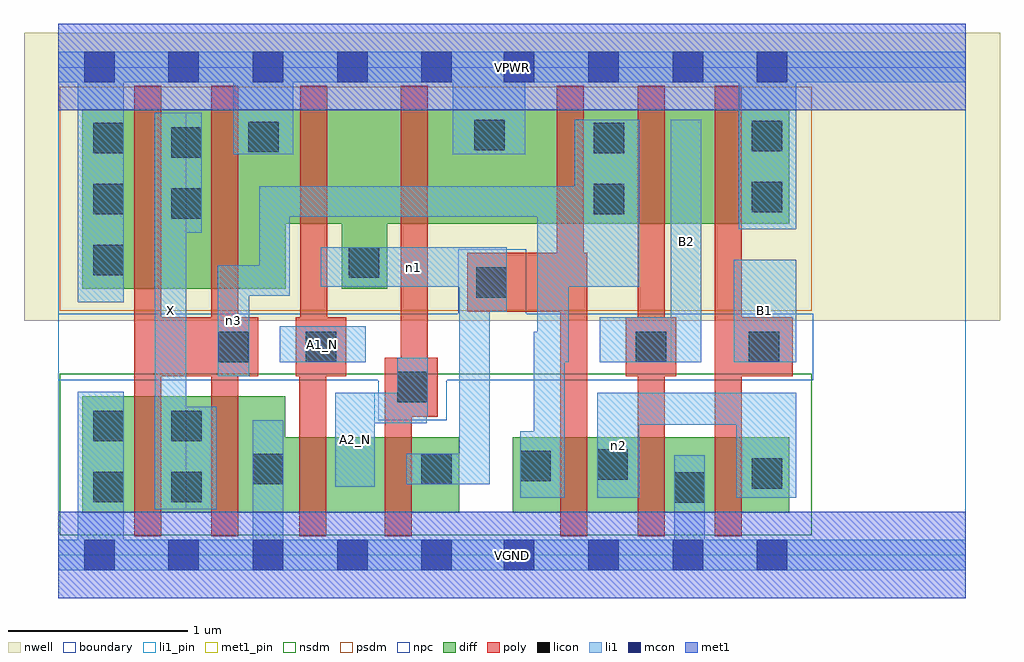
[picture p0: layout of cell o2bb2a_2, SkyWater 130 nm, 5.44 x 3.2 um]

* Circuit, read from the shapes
.subckt o2bb2a_2 A1_N A2_N B1 B2 VGND VPWR X n1 n2 n3
XM1 X n3 VGND VSUBS sky130_fd_pr__nfet_01v8 w=0.65 l=0.15 m=2
XM2 n4 A1_N VGND VSUBS sky130_fd_pr__nfet_01v8 w=0.42 l=0.15
XM3 n1 A2_N n4 VSUBS sky130_fd_pr__nfet_01v8 w=0.42 l=0.15
XM4 n2 n1 n3 VSUBS sky130_fd_pr__nfet_01v8 w=0.42 l=0.15
XM5 VGND B2 n2 VSUBS sky130_fd_pr__nfet_01v8 w=0.42 l=0.15
XM6 n2 B1 VGND VSUBS sky130_fd_pr__nfet_01v8 w=0.42 l=0.15
XM7 X n3 VPWR n5 sky130_fd_pr__pfet_01v8 w=1 l=0.15 m=2
XM8 n1 A1_N VPWR n5 sky130_fd_pr__pfet_01v8 w=0.64 l=0.15
XM9 VPWR A2_N n1 n5 sky130_fd_pr__pfet_01v8 w=0.64 l=0.15
XM10 n3 n1 VPWR n5 sky130_fd_pr__pfet_01v8 w=0.64 l=0.15
XM11 n6 B2 n3 n5 sky130_fd_pr__pfet_01v8 w=0.64 l=0.15
XM12 VPWR B1 n6 n5 sky130_fd_pr__pfet_01v8 w=0.64 l=0.15
.ends

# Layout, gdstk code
import gdstk
lib = gdstk.Library(unit=1e-6, precision=1e-09)
def R(c, l, rs):  # rectangles x0, y0, x1, y1
    for r in rs: c.add(gdstk.rectangle(r[:2], r[2:], *l))
def A(c, l, x, y, w, h, nx, ny, dx, dy):  # array of equal rectangles
    R(c, l, [(x+i*dx, y+j*dy, x+i*dx+w, y+j*dy+h) for i in range(nx) for j in range(ny)])
nwell = (64, 20)
diff = (65, 20)
poly = (66, 20)
licon = (66, 44)
li1_pin = (67, 16)
li1 = (67, 20)
mcon = (67, 44)
met1_pin = (68, 16)
met1 = (68, 20)
nsdm = (93, 44)
psdm = (94, 20)
npc = (95, 20)
boundary = (235, 4)

o2bb2a_2 = lib.new_cell('o2bb2a_2')
R(o2bb2a_2, nwell, [(-0.19,1.305,5.25,2.91), (0,1.305,5.06,2.91)])
R(o2bb2a_2, diff, [(0.135,0.235,2.235,0.655), (0.135,0.235,1.265,0.885), (2.535,0.235,4.075,0.655), (0.135,1.485,1.27,2.485), (1.58,1.485,1.835,2.485), (0.135,1.845,4.075,2.485)])
R(o2bb2a_2, poly, [(0.425,0.105,0.575,2.615), (0.855,0.105,1.005,2.615), (1.345,0.105,1.495,1.325), (1.82,0.105,1.97,1.1), (2.8,0.105,2.93,2.615), (2.8,0.105,2.95,1.685), (3.23,0.105,3.38,2.615), (3.66,0.105,3.81,2.615), (1.82,0.77,2.115,1.1), (0.425,0.995,1.115,1.325), (1.325,0.995,1.605,1.325), (1.35,0.995,1.5,2.615), (3.165,0.995,3.445,1.325), (3.66,0.995,4.095,1.325), (1.91,1.1,2.06,2.615), (2.28,1.355,2.95,1.685), (2.78,1.355,2.93,2.615)])
A(o2bb2a_2, licon, 0.195, 1.56, 0.17, 0.17, 1, 3, 0, 0.34)
R(o2bb2a_2, licon, [(3.435,0.29,3.605,0.46), (0.195,0.295,0.365,0.465), (0.63,0.295,0.8,0.465), (3.865,0.37,4.035,0.54), (1.085,0.395,1.255,0.565), (2.025,0.395,2.195,0.565), (2.575,0.41,2.745,0.58), (3.005,0.42,3.175,0.59), (0.195,0.635,0.365,0.805), (0.63,0.635,0.8,0.805), (1.89,0.85,2.06,1.02), (0.89,1.075,1.06,1.245), (1.38,1.075,1.55,1.245), (3.22,1.075,3.39,1.245), (3.85,1.075,4.02,1.245), (2.33,1.435,2.5,1.605), (1.62,1.545,1.79,1.715), (0.63,1.875,0.8,2.045), (2.985,1.9,3.155,2.07), (3.865,1.91,4.035,2.08), (0.63,2.215,0.8,2.385), (2.985,2.24,3.155,2.41), (1.06,2.245,1.23,2.415), (3.865,2.25,4.035,2.42), (2.32,2.255,2.49,2.425)])
R(o2bb2a_2, li1_pin, [(0.54,0.255,0.715,2.465), (1.545,0.38,1.765,0.905), (1.235,1.075,1.715,1.275), (3.415,1.075,3.585,2.425), (3.765,1.075,4.115,1.645)])
R(o2bb2a_2, li1, [(0,-0.085,5.06,0.085), (0.11,-0.085,0.365,0.91), (1.085,-0.085,1.255,0.75), (3.435,-0.085,3.605,0.555), (0.54,0.255,0.715,2.465), (0.54,0.255,0.885,0.825), (2.575,0.32,2.825,0.69), (2.65,0.32,2.825,1.245), (3.005,0.32,3.24,0.905), (3.78,0.32,4.115,0.905), (1.545,0.38,1.765,0.905), (1.94,0.395,2.405,0.565), (2.235,0.395,2.405,1.715), (3.005,0.725,4.115,0.905), (1.765,0.735,2.055,0.905), (1.89,0.77,2.06,1.1), (0.89,0.995,1.065,1.615), (1.235,1.075,1.715,1.275), (2.67,1.075,2.845,2.055), (3.02,1.075,3.585,1.325), (3.415,1.075,3.585,2.425), (3.765,1.075,4.115,1.645), (2.235,1.355,2.5,1.715), (0.11,1.41,0.365,2.805), (0.89,1.445,1.29,1.615), (1.12,1.445,1.29,2.055), (1.465,1.495,2.5,1.715), (2.67,1.495,3.24,2.055), (2.88,1.495,3.24,2.425), (0.54,1.795,0.8,2.465), (3.795,1.815,4.115,2.805), (1.12,1.885,3.24,2.055), (0.975,2.235,1.31,2.805), (2.2,2.235,2.605,2.805), (0,2.635,5.06,2.805)])
A(o2bb2a_2, mcon, 0.145, -0.085, 0.17, 0.17, 5, 2, 0.47, 2.72)
A(o2bb2a_2, mcon, 2.485, -0.085, 0.17, 0.17, 4, 2, 0.47, 2.72)
R(o2bb2a_2, met1_pin, [(0,-0.24,5.06,0.24), (0,2.48,5.06,2.96)])
R(o2bb2a_2, met1, [(0,-0.24,5.06,0.24), (0,2.48,5.06,2.96)])
R(o2bb2a_2, nsdm, [(0.01,0.11,4.2,1.01)])
R(o2bb2a_2, psdm, [(0.01,1.36,4.2,2.61)])
R(o2bb2a_2, npc, [(1.785,0.75,2.165,1.345), (0,0.975,4.21,1.345), (2.23,0.975,2.61,1.705)])
R(o2bb2a_2, boundary, [(0,0,5.06,2.72)])
o2bb2a_2.add(gdstk.Label('A1_N', (1.475,1.175), layer=67, texttype=5))
o2bb2a_2.add(gdstk.Label('A2_N', (1.655,0.642), layer=67, texttype=5))
o2bb2a_2.add(gdstk.Label('B1', (3.94,1.36), layer=67, texttype=5))
o2bb2a_2.add(gdstk.Label('B2', (3.5,1.75), layer=67, texttype=5))
o2bb2a_2.add(gdstk.Label('X', (0.627,1.36), layer=67, texttype=5))
o2bb2a_2.add(gdstk.Label('n2', (3.122,0.612), layer=67, texttype=5))
o2bb2a_2.add(gdstk.Label('n1', (1.982,1.605), layer=67, texttype=5))
o2bb2a_2.add(gdstk.Label('n3', (0.977,1.305), layer=67, texttype=5))
o2bb2a_2.add(gdstk.Label('VPWR', (2.53,2.72), layer=68, texttype=5))
o2bb2a_2.add(gdstk.Label('VGND', (2.53,0), layer=68, texttype=5))
o2bb2a_2.add(gdstk.Label('A1_N', (1.475,1.175), layer=67, texttype=16))
o2bb2a_2.add(gdstk.Label('A2_N', (1.655,0.642), layer=67, texttype=16))
o2bb2a_2.add(gdstk.Label('B1', (3.94,1.36), layer=67, texttype=16))
o2bb2a_2.add(gdstk.Label('B2', (3.5,1.75), layer=67, texttype=16))
o2bb2a_2.add(gdstk.Label('X', (0.627,1.36), layer=67, texttype=16))
o2bb2a_2.add(gdstk.Label('VPWR', (2.53,2.72), layer=68, texttype=16))
o2bb2a_2.add(gdstk.Label('VGND', (2.53,0), layer=68, texttype=16))

lib.write_gds('o2bb2a_2.gds')
